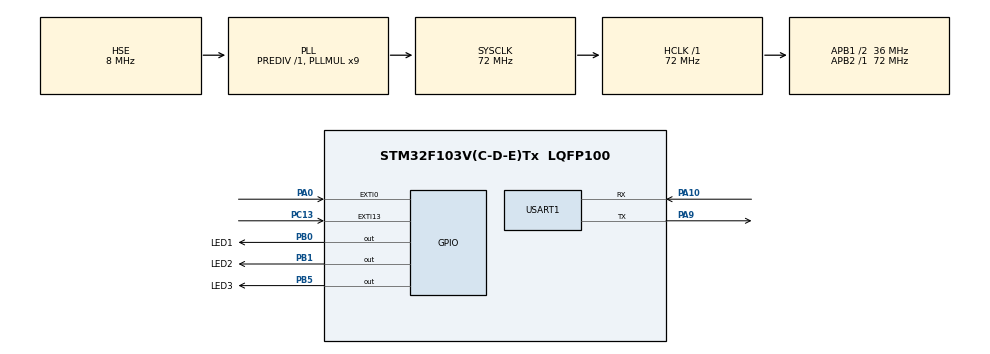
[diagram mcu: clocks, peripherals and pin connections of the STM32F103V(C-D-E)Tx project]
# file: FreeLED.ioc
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FREERTOS.Tasks01=defaultTask,0,128,StartDefaultTask,Default,NULL,Dynamic,NULL,NULL;myTaskLED1,-3,128,StartTaskLED1,Default,NULL,Dynamic,NULL,NULL;myTaskUSART,0,128,StartTaskUSART,Default,NULL,Dynamic,NULL,NULL
Mcu.Family=STM32F1
Mcu.Name=STM32F103V(C-D-E)Tx
Mcu.Package=LQFP100
NVIC.EXTI0_IRQn=true\:5\:0\:false\:false\:true\:true\:true\:true
NVIC.EXTI15_10_IRQn=true\:5\:0\:false\:false\:true\:true\:true\:true
NVIC.PriorityGroup=NVIC_PRIORITYGROUP_4
NVIC.TIM4_IRQn=true\:0\:0\:false\:false\:true\:false\:false\:true
NVIC.TimeBase=TIM4_IRQn
NVIC.TimeBaseIP=TIM4
NVIC.USART1_IRQn=true\:5\:0\:false\:false\:true\:true\:true\:true
OSC_IN.Mode=HSE-External-Oscillator
OSC_IN.Signal=RCC_OSC_IN
OSC_OUT.Mode=HSE-External-Oscillator
OSC_OUT.Signal=RCC_OSC_OUT
PA0-WKUP.GPIO_ModeDefaultEXTI=GPIO_MODE_IT_FALLING
PA0-WKUP.Signal=GPXTI0
PA10.Mode=Asynchronous
PA10.Signal=USART1_RX
PA13.Mode=JTAG_5_pins
PA13.Signal=SYS_JTMS-SWDIO
PA14.Mode=JTAG_5_pins
PA14.Signal=SYS_JTCK-SWCLK
PA15.Mode=JTAG_5_pins
PA15.Signal=SYS_JTDI
PA9.Mode=Asynchronous
PA9.Signal=USART1_TX
PB0.GPIO_Label=LED1
PB0.Signal=GPIO_Output
PB1.GPIO_Label=LED2
PB1.Signal=GPIO_Output
PB3.Mode=JTAG_5_pins
PB3.Signal=SYS_JTDO-TRACESWO
PB4.Mode=JTAG_5_pins
PB4.Signal=SYS_NJTRST
PB5.GPIO_Label=LED3
PB5.Signal=GPIO_Output
PC13-TAMPER-RTC.GPIO_ModeDefaultEXTI=GPIO_MODE_IT_FALLING
PC13-TAMPER-RTC.Signal=GPXTI13
PC14-OSC32_IN.Mode=LSE-External-Oscillator
PC14-OSC32_IN.Signal=RCC_OSC32_IN
PC15-OSC32_OUT.Mode=LSE-External-Oscillator
PC15-OSC32_OUT.Signal=RCC_OSC32_OUT
ProjectManager.HeapSize=0x200
ProjectManager.StackSize=0x400
ProjectManager.TargetToolchain=Makefile
RCC.AHBFreq_Value=72000000
RCC.APB1CLKDivider=RCC_HCLK_DIV2
RCC.APB1Freq_Value=36000000
RCC.APB1TimFreq_Value=72000000
RCC.APB2Freq_Value=72000000
RCC.APB2TimFreq_Value=72000000
RCC.HCLKFreq_Value=72000000
RCC.PLLMUL=RCC_PLL_MUL9
RCC.PLLSourceVirtual=RCC_PLLSOURCE_HSE
RCC.SYSCLKFreq_VALUE=72000000
RCC.SYSCLKSource=RCC_SYSCLKSOURCE_PLLCLK
RCC.USBFreq_Value=72000000
USART1.VirtualMode=VM_ASYNC
VP_FREERTOS_VS_CMSIS_V1.Mode=CMSIS_V1
VP_SYS_VS_tim4.Mode=TIM4
board=custom

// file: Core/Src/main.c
/* USER CODE BEGIN Header */
/**
  ******************************************************************************
  * @file           : main.c
  * @brief          : Main program body
  ******************************************************************************
  * @attention
  *
  * <h2><center>&copy; Copyright (c) 2024 STMicroelectronics.
  * All rights reserved.</center></h2>
  *
  * This software component is licensed by ST under Ultimate Liberty license
  * SLA0044, the "License"; You may not use this file except in compliance with
  * the License. You may obtain a copy of the License at:
  *                             www.st.com/SLA0044
  *
  ******************************************************************************
  */
/* USER CODE END Header */
#include "main.h"
#include "cmsis_os.h"
#include "usart.h"
#include "gpio.h"

/* USER CODE BEGIN Includes */
/* 声明引用外部队列 & 二???信号量 */
extern QueueHandle_t Test_Queue;

static uint32_t send_data1 = 1;
static uint32_t send_data2 = 2;
/* USER CODE END Includes */

void SystemClock_Config(void);
void MX_FREERTOS_Init(void);

/* USER CODE BEGIN 0 */

/* USER CODE END PFP */

/* USER CODE BEGIN 0 */
/* USER CODE END 0 */

int main(void)
{

  /* MCU Configuration--------------------------------------------------------*/

  /* Reset of all peripherals, Initializes the Flash interface and the Systick. */
  HAL_Init();

  /* Configure the system clock */
  SystemClock_Config();

  /* Initialize all configured peripherals */
  MX_GPIO_Init();
  MX_USART1_UART_Init();

  /* Call init function for freertos objects (in freertos.c) */
  MX_FREERTOS_Init();
  /* Start scheduler */
  osKernelStart();

  /* We should never get here as control is now taken by the scheduler */
  /* Infinite loop */
  while (1)
  {

  }
}

void SystemClock_Config(void)
{
  RCC_OscInitTypeDef RCC_OscInitStruct = {0};
  RCC_ClkInitTypeDef RCC_ClkInitStruct = {0};

  /** Initializes the RCC Oscillators according to the specified parameters
  * in the RCC_OscInitTypeDef structure.
  */
  RCC_OscInitStruct.OscillatorType = RCC_OSCILLATORTYPE_HSE;
  RCC_OscInitStruct.HSEState = RCC_HSE_ON;
  RCC_OscInitStruct.HSEPredivValue = RCC_HSE_PREDIV_DIV1;
  RCC_OscInitStruct.HSIState = RCC_HSI_ON;
  RCC_OscInitStruct.PLL.PLLState = RCC_PLL_ON;
  RCC_OscInitStruct.PLL.PLLSource = RCC_PLLSOURCE_HSE;
  RCC_OscInitStruct.PLL.PLLMUL = RCC_PLL_MUL9;
  if (HAL_RCC_OscConfig(&RCC_OscInitStruct) != HAL_OK)
  {
    Error_Handler();
  }
  /** Initializes the CPU, AHB and APB buses clocks
  */
  RCC_ClkInitStruct.ClockType = RCC_CLOCKTYPE_HCLK|RCC_CLOCKTYPE_SYSCLK
                              |RCC_CLOCKTYPE_PCLK1|RCC_CLOCKTYPE_PCLK2;
  RCC_ClkInitStruct.SYSCLKSource = RCC_SYSCLKSOURCE_PLLCLK;
  RCC_ClkInitStruct.AHBCLKDivider = RCC_SYSCLK_DIV1;
  RCC_ClkInitStruct.APB1CLKDivider = RCC_HCLK_DIV2;
  RCC_ClkInitStruct.APB2CLKDivider = RCC_HCLK_DIV1;

  if (HAL_RCC_ClockConfig(&RCC_ClkInitStruct, FLASH_LATENCY_2) != HAL_OK)
  {
    Error_Handler();
  }
}

/* USER CODE BEGIN 4 */
void HAL_GPIO_EXTI_Callback(uint16_t GPIO_Pin)
{
  BaseType_t pxHigherPriorityTaskWoken;
  if(GPIO_Pin==GPIO_PIN_0)
  { xQueueSendFromISR(Test_Queue,
											&send_data1,
											&pxHigherPriorityTaskWoken);

		portYIELD_FROM_ISR(pxHigherPriorityTaskWoken);
  }
  else if(GPIO_Pin==GPIO_PIN_13)
  {xQueueSendFromISR(Test_Queue,
											&send_data2,
											&pxHigherPriorityTaskWoken);
		portYIELD_FROM_ISR(pxHigherPriorityTaskWoken);}

}

/* USER CODE END 4 */

 /**
  * @brief  Period elapsed callback in non blocking mode
  * @note   This function is called  when TIM4 interrupt took place, inside
  * HAL_TIM_IRQHandler(). It makes a direct call to HAL_IncTick() to increment
  * a global variable "uwTick" used as application time base.
  * @param  htim : TIM handle
  * @retval None
  */
void HAL_TIM_PeriodElapsedCallback(TIM_HandleTypeDef *htim)
{
  if (htim->Instance == TIM4) {
    HAL_IncTick();
  }
}

void Error_Handler(void)
{
  __disable_irq();
  while (1)
  {
  }
}

/************************ (C) COPYRIGHT STMicroelectronics *****END OF FILE****/

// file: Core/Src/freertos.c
/* USER CODE BEGIN Header */
/**
  ******************************************************************************
  * File Name          : freertos.c
  * Description        : Code for freertos applications
  ******************************************************************************
  * @attention
  *
  * <h2><center>&copy; Copyright (c) 2024 STMicroelectronics.
  * All rights reserved.</center></h2>
  *
  * This software component is licensed by ST under Ultimate Liberty license
  * SLA0044, the "License"; You may not use this file except in compliance with
  * the License. You may obtain a copy of the License at:
  *                             www.st.com/SLA0044
  *
  ******************************************************************************
  */
/* USER CODE END Header */

#include "FreeRTOS.h"
#include "task.h"
#include "main.h"

#include "cmsis_os.h"

/* USER CODE BEGIN Includes */
#include "usart.h"
//#include "stdio.h"
/* USER CODE END Includes */

/* USER CODE BEGIN PM */
#define  QUEUE_LEN    4   /* 队列的长度，�?大可包含多少个消�? */
#define  QUEUE_SIZE   4   /* 队列中每个消息大小（字节�? */
/* USER CODE END PM */

/* USER CODE BEGIN Variables */
QueueHandle_t Test_Queue =NULL;

/* USER CODE END Variables */
osThreadId defaultTaskHandle;
osThreadId myTaskLED1Handle;
osThreadId myTaskUSARTHandle;

void StartDefaultTask(void const * argument);
void StartTaskLED1(void const * argument);
void StartTaskUSART(void const * argument);

void MX_FREERTOS_Init(void); /* (MISRA C 2004 rule 8.1) */

/* GetIdleTaskMemory prototype (linked to static allocation support) */
void vApplicationGetIdleTaskMemory( StaticTask_t **ppxIdleTaskTCBBuffer, StackType_t **ppxIdleTaskStackBuffer, uint32_t *pulIdleTaskStackSize );

/* USER CODE BEGIN GET_IDLE_TASK_MEMORY */
static StaticTask_t xIdleTaskTCBBuffer;
static StackType_t xIdleStack[configMINIMAL_STACK_SIZE];

void vApplicationGetIdleTaskMemory( StaticTask_t **ppxIdleTaskTCBBuffer, StackType_t **ppxIdleTaskStackBuffer, uint32_t *pulIdleTaskStackSize )
{
  *ppxIdleTaskTCBBuffer = &xIdleTaskTCBBuffer;
  *ppxIdleTaskStackBuffer = &xIdleStack[0];
  *pulIdleTaskStackSize = configMINIMAL_STACK_SIZE;
  /* place for user code */
}
/* USER CODE END GET_IDLE_TASK_MEMORY */

void MX_FREERTOS_Init(void) {

  /* USER CODE BEGIN RTOS_QUEUES */
  /* add queues, ... */
    /* 创建Test_Queue */
  Test_Queue = xQueueCreate((UBaseType_t ) QUEUE_LEN,/* 消息队列的长度 */
                            (UBaseType_t ) QUEUE_SIZE);/* 消息的大小 */
  /* USER CODE END RTOS_QUEUES */

  /* Create the thread(s) */
  /* definition and creation of defaultTask */
  osThreadDef(defaultTask, StartDefaultTask, osPriorityNormal, 0, 128);
  defaultTaskHandle = osThreadCreate(osThread(defaultTask), NULL);

  /* definition and creation of myTaskLED1 */
  osThreadDef(myTaskLED1, StartTaskLED1, osPriorityNormal, 0, 128);
  myTaskLED1Handle = osThreadCreate(osThread(myTaskLED1), NULL);

  /* definition and creation of myTaskUSART */
  osThreadDef(myTaskUSART, StartTaskUSART, osPriorityNormal, 0, 128);
  myTaskUSARTHandle = osThreadCreate(osThread(myTaskUSART), NULL);

}

void StartDefaultTask(void const * argument)
{
  for(;;)
  {
    osDelay(1);
  }
}

void StartTaskLED1(void const * argument)
{
  /* USER CODE BEGIN StartTaskLED1 */
  /* Infinite loop */
    BaseType_t xReturn = pdPASS;/* 定义一个创建信息返回值，默认为pdPASS */
  uint32_t r_queue;	/* 定义一个接收消息的变量 */

  /* Infinite loop */
  for(;;)
  {

    /* 队列读取（接收），等待时间为一直等待 */
    xReturn = xQueueReceive( Test_Queue,    /* 消息队列的句柄 */
                             &r_queue,      /* 发送的消息内容 */
                             portMAX_DELAY); /* 等待时间 一直等 */

		if(pdPASS == xReturn)
		{
      if(r_queue==1)
      LED1_ON;
      else
      LED1_OFF;
			//printf("触发中断的是 KEY%d !\n",(uint8_t)r_queue);
      HAL_UART_Transmit(&huart1,(uint8_t*)&r_queue,1,100);
		}
		else
		{
			//printf("数据接收出错\n");
		}

  }

  /* USER CODE END StartTaskLED1 */
}

void StartTaskUSART(void const * argument)
{
  /* USER CODE BEGIN StartTaskUSART */

  for(;;)
{   uint8_t TxData[8]= "abds344";
    //  printf("Characters: %s\n", TxData);
    HAL_UART_Transmit(&huart1,(uint8_t*)&TxData,8,100);

  osDelay(500);
}

  //  uint8_t TxData[8]= "1111111";
  //  HAL_UART_Transmit(&huart1,(uint8_t*)&TxData,8,100);

 /*  LED2_OFF;

     LED2_ON;
      osDelay(500);*/

  /* USER CODE END StartTaskUSART */
}

/************************ (C) COPYRIGHT STMicroelectronics *****END OF FILE****/
